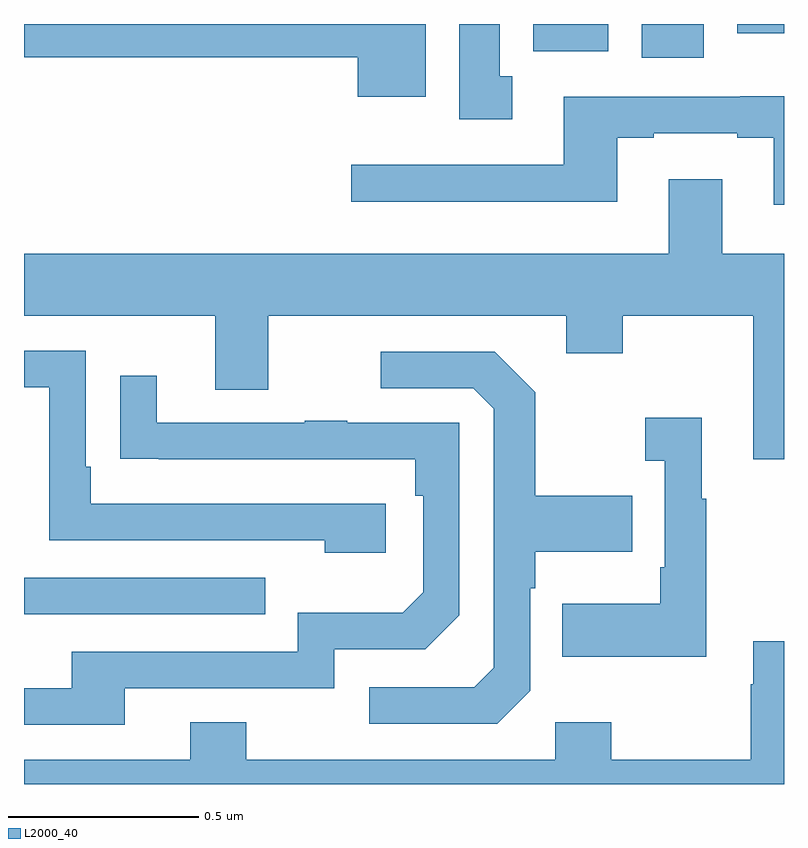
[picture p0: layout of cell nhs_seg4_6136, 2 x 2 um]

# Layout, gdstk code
import gdstk
lib = gdstk.Library(unit=1e-6, precision=1e-09)
def R(c, l, rs):  # rectangles x0, y0, x1, y1
    for r in rs: c.add(gdstk.rectangle(r[:2], r[2:], *l))
def P(c, l, *ps):  # polygons
    for p in ps: c.add(gdstk.Polygon(p, *l))
L2000_40 = (2000, 40)

nhs_seg4_6136 = lib.new_cell('nhs_seg4_6136')
R(nhs_seg4_6136, L2000_40, [(186,817.347,186.635,817.443), (187.625,818.811,187.789,818.9), (187.34,818.828,187.537,818.9), (187.877,818.876,188,818.9)])
P(nhs_seg4_6136, L2000_40, [(187.057,818.9),(186,818.9),(186,818.812),(186.878,818.812),(186.878,818.708),(187.057,818.708)],
  [(187.285,818.762),(187.252,818.762),(187.252,818.9),(187.145,818.9),(187.145,818.649),(187.285,818.649)],
  [(188,818.71),(187.885,818.71),(187.885,818.709),(187.421,818.709),(187.421,818.529),(186.861,818.529),(186.861,818.432),(187.561,818.432),(187.561,818.601),(187.657,818.601),(187.657,818.613),(187.877,818.613),(187.877,818.601),(187.973,818.601),(187.973,818.424),(188,818.424)],
  [(188,818.296),(187.837,818.296),(187.837,818.491),(187.697,818.491),(187.697,818.296),(186,818.296),(186,818.132),(186.503,818.132),(186.503,817.938),(186.643,817.938),(186.643,818.132),(187.427,818.132),(187.427,818.033),(187.575,818.033),(187.575,818.132),(187.919,818.132),(187.919,817.755),(188,817.755)],
  [(186.952,817.638),(186.175,817.638),(186.175,817.735),(186.162,817.735),(186.162,818.04),(186,818.04),(186,817.944),(186.066,817.944),(186.066,817.542),(186.791,817.542),(186.791,817.508),(186.952,817.508)],
  [(187.332,817.146),(187.332,817.415),(187.345,817.415),(187.345,817.511),(187.601,817.511),(187.601,817.659),(187.345,817.659),(187.345,817.931),(187.239,818.037),(186.939,818.037),(186.939,817.941),(187.182,817.941),(187.236,817.887),(187.236,817.206),(187.185,817.155),(186.909,817.155),(186.909,817.059),(187.245,817.059)],
  [(186.265,817.152),(186.816,817.152),(186.816,817.254),(187.056,817.254),(187.146,817.344),(187.146,817.851),(186.851,817.851),(186.851,817.856),(186.739,817.856),(186.739,817.851),(186.349,817.851),(186.349,817.975),(186.253,817.975),(186.253,817.756),(186.355,817.756),(186.355,817.755),(187.03,817.755),(187.03,817.658),(187.05,817.658),(187.05,817.404),(186.997,817.351),(186.72,817.351),(186.72,817.248),(186.125,817.248),(186.125,817.152),(186,817.152),(186,817.056),(186.265,817.056)],
  [(187.795,817.651),(187.783,817.651),(187.783,817.864),(187.635,817.864),(187.635,817.751),(187.686,817.751),(187.686,817.471),(187.674,817.471),(187.674,817.375),(187.417,817.375),(187.417,817.235),(187.795,817.235)],
  [(188,817.276),(187.919,817.276),(187.919,817.163),(187.912,817.163),(187.912,816.964),(187.545,816.964),(187.545,817.063),(187.398,817.063),(187.398,816.964),(186.585,816.964),(186.585,817.063),(186.437,817.063),(186.437,816.964),(186,816.964),(186,816.9),(188,816.9)])

lib.write_gds('nhs_seg4_6136.gds')
